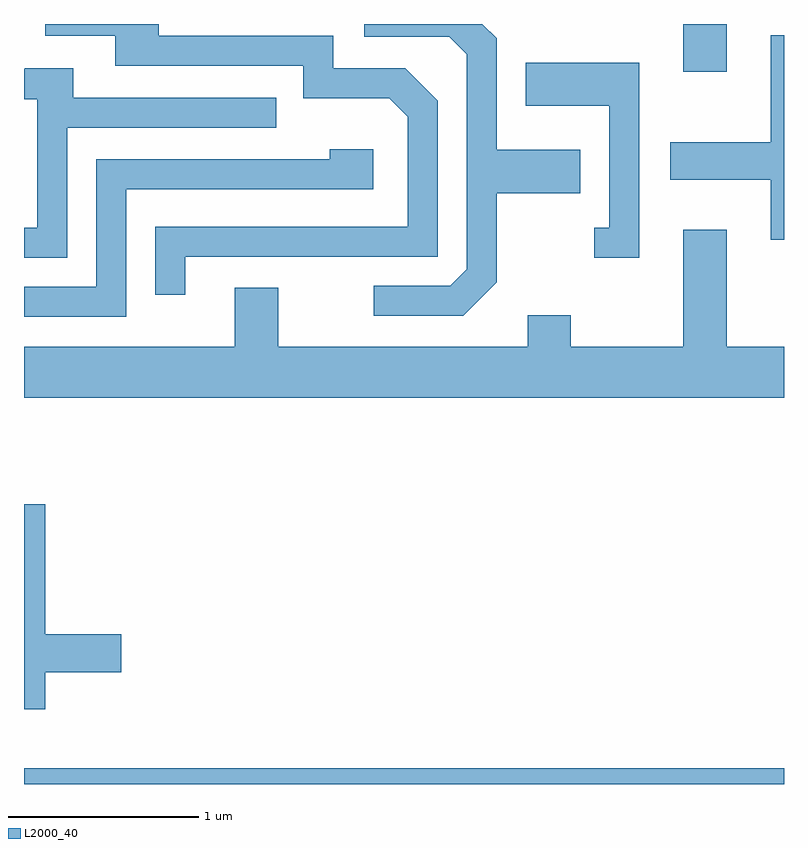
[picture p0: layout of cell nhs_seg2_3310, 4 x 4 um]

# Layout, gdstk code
import gdstk
lib = gdstk.Library(unit=1e-6, precision=1e-09)
def R(c, l, rs):  # rectangles x0, y0, x1, y1
    for r in rs: c.add(gdstk.rectangle(r[:2], r[2:], *l))
def P(c, l, *ps):  # polygons
    for p in ps: c.add(gdstk.Polygon(p, *l))
L2000_40 = (2000, 40)

nhs_seg2_3310 = lib.new_cell('nhs_seg2_3310')
R(nhs_seg2_3310, L2000_40, [(281.611,1081.802,285.611,1081.884), (285.081,1085.551,285.309,1085.802)])
P(nhs_seg2_3310, L2000_40, [(282.459,1084.576),(283.789,1084.576),(283.789,1085.397),(283.617,1085.569),(283.239,1085.569),(283.239,1085.739),(282.319,1085.739),(282.319,1085.802),(281.723,1085.802),(281.723,1085.741),(282.091,1085.741),(282.091,1085.581),(283.081,1085.581),(283.081,1085.411),(283.534,1085.411),(283.631,1085.314),(283.631,1084.734),(282.301,1084.734),(282.301,1084.378),(282.459,1084.378)],
  [(284.013,1084.357),(284.099,1084.444),(284.099,1084.911),(284.539,1084.911),(284.539,1085.139),(284.099,1085.139),(284.099,1085.727),(284.024,1085.802),(283.403,1085.802),(283.403,1085.736),(283.849,1085.736),(283.941,1085.644),(283.941,1084.512),(283.854,1084.424),(283.453,1084.424),(283.453,1084.266),(283.922,1084.266)],
  [(285.611,1085.744),(285.541,1085.744),(285.541,1085.179),(285.011,1085.179),(285.011,1084.981),(285.541,1084.981),(285.541,1084.666),(285.611,1084.666)],
  [(284.849,1085.599),(284.251,1085.599),(284.251,1085.371),(284.691,1085.371),(284.691,1084.729),(284.613,1084.729),(284.613,1084.571),(284.849,1084.571)],
  [(281.839,1085.256),(282.938,1085.256),(282.938,1085.414),(281.869,1085.414),(281.869,1085.569),(281.615,1085.569),(281.615,1085.564),(281.611,1085.564),(281.611,1085.406),(281.681,1085.406),(281.681,1084.729),(281.611,1084.729),(281.611,1084.571),(281.839,1084.571)],
  [(282.149,1084.931),(283.449,1084.931),(283.449,1085.144),(283.221,1085.144),(283.221,1085.089),(281.991,1085.089),(281.991,1084.419),(281.611,1084.419),(281.611,1084.261),(282.149,1084.261)],
  [(285.611,1084.104),(285.309,1084.104),(285.309,1084.719),(285.081,1084.719),(285.081,1084.104),(284.489,1084.104),(284.489,1084.269),(284.261,1084.269),(284.261,1084.104),(282.949,1084.104),(282.949,1084.414),(282.721,1084.414),(282.721,1084.104),(281.611,1084.104),(281.611,1083.836),(285.611,1083.836)],
  [(281.724,1082.391),(282.124,1082.391),(282.124,1082.589),(281.724,1082.589),(281.724,1083.274),(281.611,1083.274),(281.611,1082.196),(281.724,1082.196)])

lib.write_gds('nhs_seg2_3310.gds')
